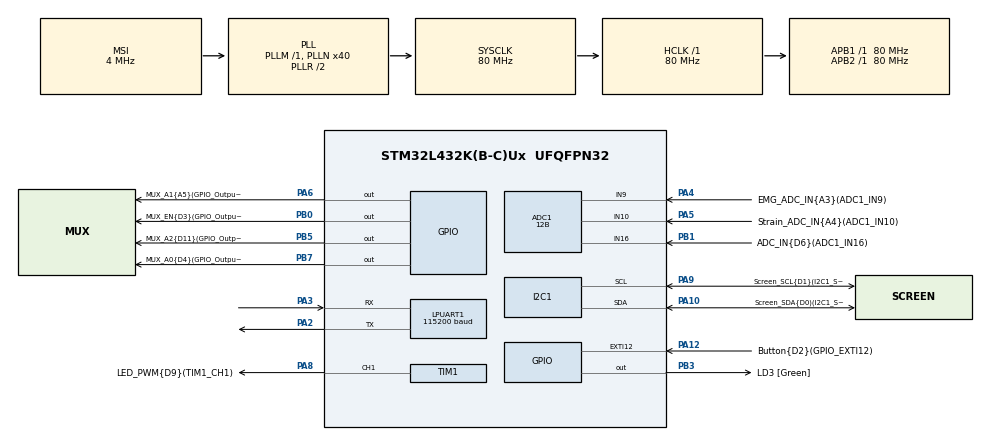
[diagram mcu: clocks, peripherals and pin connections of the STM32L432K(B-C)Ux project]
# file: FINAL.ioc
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ADC1.Channel-4\#ChannelRegularConversion=ADC_CHANNEL_9
ADC1.Channel-5\#ChannelRegularConversion=ADC_CHANNEL_10
ADC1.Channel-6\#ChannelRegularConversion=ADC_CHANNEL_16
ADC1.ContinuousConvMode=ENABLE
ADC1.NbrOfConversion=3
ADC1.NbrOfConversionFlag=1
ADC1.OffsetNumber-4\#ChannelRegularConversion=ADC_OFFSET_NONE
ADC1.OffsetNumber-5\#ChannelRegularConversion=ADC_OFFSET_NONE
ADC1.OffsetNumber-6\#ChannelRegularConversion=ADC_OFFSET_NONE
ADC1.OversamplingMode=DISABLE
ADC1.Rank-4\#ChannelRegularConversion=1
ADC1.Rank-5\#ChannelRegularConversion=2
ADC1.Rank-6\#ChannelRegularConversion=3
ADC1.Resolution=ADC_RESOLUTION_12B
ADC1.SamplingTime-4\#ChannelRegularConversion=ADC_SAMPLETIME_2CYCLES_5
ADC1.SamplingTime-5\#ChannelRegularConversion=ADC_SAMPLETIME_24CYCLES_5
ADC1.SamplingTime-6\#ChannelRegularConversion=ADC_SAMPLETIME_2CYCLES_5
ADC1.master=1
Dma.Request0=TIM1_CH1
Dma.TIM1_CH1.0.Direction=DMA_MEMORY_TO_PERIPH
Dma.TIM1_CH1.0.Instance=DMA1_Channel2
Dma.TIM1_CH1.0.MemDataAlignment=DMA_MDATAALIGN_HALFWORD
Dma.TIM1_CH1.0.MemInc=DMA_MINC_ENABLE
Dma.TIM1_CH1.0.Mode=DMA_NORMAL
Dma.TIM1_CH1.0.PeriphDataAlignment=DMA_PDATAALIGN_HALFWORD
Dma.TIM1_CH1.0.PeriphInc=DMA_PINC_DISABLE
Dma.TIM1_CH1.0.Priority=DMA_PRIORITY_LOW
I2C1.Timing=0x10909CEC
LPUART1.BaudRate=115200
LPUART1.WordLength=UART_WORDLENGTH_8B
Mcu.Family=STM32L4
Mcu.Name=STM32L432K(B-C)Ux
Mcu.Package=UFQFPN32
NVIC.DMA1_Channel2_IRQn=true\:0\:0\:true\:false\:true\:false\:true\:false
NVIC.EXTI15_10_IRQn=true\:2\:0\:true\:false\:true\:true\:true\:true
NVIC.PriorityGroup=NVIC_PRIORITYGROUP_4
NVIC.TIM2_IRQn=true\:2\:0\:true\:false\:true\:true\:true\:true
PA0.GPIO_Label=MCO [High speed clock in]
PA0.Mode=HSE-External-Clock-Source-for-LittleOrca
PA0.Signal=RCC_CK_IN
PA10.GPIO_Label=Screen_SDA{D0)(I2C1_SDA)
PA10.Mode=I2C
PA10.Signal=I2C1_SDA
PA12.GPIO_Label=Button{D2}(GPIO_EXTI12)
PA12.GPIO_ModeDefaultEXTI=GPIO_MODE_IT_RISING
PA12.Signal=GPXTI12
PA13\ (JTMS-SWDIO).GPIO_Label=SWDIO
PA13\ (JTMS-SWDIO).Mode=Serial_Wire
PA13\ (JTMS-SWDIO).Signal=SYS_JTMS-SWDIO
PA14\ (JTCK-SWCLK).GPIO_Label=SWCLK
PA14\ (JTCK-SWCLK).Mode=Serial_Wire
PA14\ (JTCK-SWCLK).Signal=SYS_JTCK-SWCLK
PA15\ (JTDI).GPIO_Label=VCP_RX
PA15\ (JTDI).Signal=USART2_RX
PA2.Mode=Asynchronous
PA2.Signal=LPUART1_TX
PA3.Mode=Asynchronous
PA3.Signal=LPUART1_RX
PA4.GPIO_Label=EMG_ADC_IN{A3}(ADC1_IN9)
PA4.Signal=ADCx_IN9
PA5.GPIO_Label=Strain_ADC_IN{A4}(ADC1_IN10)
PA5.Signal=ADCx_IN10
PA6.GPIO_Label=MUX_A1{A5}(GPIO_Output)
PA6.PinState=GPIO_PIN_SET
PA6.Signal=GPIO_Output
PA8.GPIO_Label=LED_PWM{D9}(TIM1_CH1)
PA8.Signal=S_TIM1_CH1
PA9.GPIO_Label=Screen_SCL{D1}(I2C1_SCL)
PA9.Mode=I2C
PA9.Signal=I2C1_SCL
PB0.GPIO_Label=MUX_EN{D3}(GPIO_Output)
PB0.PinState=GPIO_PIN_SET
PB0.Signal=GPIO_Output
PB1.GPIO_Label=ADC_IN{D6}(ADC1_IN16)
PB1.Signal=ADCx_IN16
PB3\ (JTDO-TRACESWO).GPIO_Label=LD3 [Green]
PB3\ (JTDO-TRACESWO).PinState=GPIO_PIN_SET
PB3\ (JTDO-TRACESWO).Signal=GPIO_Output
PB5.GPIO_Label=MUX_A2{D11}(GPIO_Output)
PB5.PinState=GPIO_PIN_SET
PB5.Signal=GPIO_Output
PB7.GPIO_Label=MUX_A0{D4}(GPIO_Output)
PB7.PinState=GPIO_PIN_SET
PB7.Signal=GPIO_Output
PC14-OSC32_IN\ (PC14).Signal=RCC_OSC32_IN
PC15-OSC32_OUT\ (PC15).Signal=RCC_OSC32_OUT
ProjectManager.HeapSize=0x200
ProjectManager.StackSize=0x400
ProjectManager.TargetToolchain=STM32CubeIDE
RCC.ADCFreq_Value=80000000
RCC.AHBFreq_Value=80000000
RCC.APB1Freq_Value=80000000
RCC.APB1TimFreq_Value=80000000
RCC.APB2Freq_Value=80000000
RCC.APB2TimFreq_Value=80000000
RCC.CortexFreq_Value=80000000
RCC.HCLKFreq_Value=80000000
RCC.HSE_VALUE=8000000
RCC.HSI16_VALUE=16000000
RCC.HSI48_VALUE=48000000
RCC.HSI_VALUE=16000000
RCC.LSE_VALUE=32768
RCC.MSI_VALUE=4000000
RCC.PLLMUL=RCC_PLLMUL_4
RCC.PLLN=40
RCC.PLLSAI1N=40
RCC.SYSCLKFreq_VALUE=80000000
RCC.SYSCLKSource=RCC_SYSCLKSOURCE_PLLCLK
RCC.USBFreq_Value=80000000
RCC.VCOOutputFreq_Value=160000000
SH.ADCx_IN10.0=ADC1_IN10,IN10-Single-Ended
SH.ADCx_IN16.0=ADC1_IN16,IN16-Single-Ended
SH.ADCx_IN9.0=ADC1_IN9,IN9-Single-Ended
SH.S_TIM1_CH1.0=TIM1_CH1,PWM Generation1 CH1
TIM1.Channel-PWM\ Generation1\ CH1=TIM_CHANNEL_1
TIM1.Period=100-1
TIM2.Period=4000000
VP_TIM1_VS_ClockSourceINT.Mode=Internal
VP_TIM2_VS_ClockSourceINT.Mode=Internal
board=NUCLEO-L432KC

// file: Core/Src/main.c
/* USER CODE BEGIN Header */
/**
  ******************************************************************************
  * @file           : main.c
  * @brief          : Main program body
  ******************************************************************************
  * @attention
  *
  * Copyright (c) 2023 STMicroelectronics.
  * All rights reserved.
  *
  * This software is licensed under terms that can be found in the LICENSE file
  * in the root directory of this software component.
  * If no LICENSE file comes with this software, it is provided AS-IS.
  *
  ******************************************************************************
  */
/* USER CODE END Header */
#include "main.h"

/* USER CODE BEGIN Includes */

#include "stdio.h"				//For printf() debugging
#include "oled_screen.h"		//Obviously for the oled WE DID NOT WRITE THIS
/* USER CODE END Includes */

/* USER CODE BEGIN PTD */

//For the moving average filter
#define WINDOW_SIZE			8						//Moving average filter window size

//FOR THE ADC
#define EMG_COUNT			5						//Number of EMGs
#define STRAIN_COUNT		2						//Number of strain sensors
#define SENSOR_COUNT 		EMG_COUNT+STRAIN_COUNT 	//EMG + Strain
#define ADC_BUFFER_LENGTH	WINDOW_SIZE+3 			// 8 Window time Slots the MAX, SUM, and AVG
#define ADC_DATA_LENGTH		WINDOW_SIZE				//Width of the moving average filter that stores the data in ADC_Val
#define MAX_INDEX			WINDOW_SIZE+2			//The location the max in the tail end of the of ADC_Val
#define SUM_INDEX			WINDOW_SIZE+1			//The location the running sum in the tail end of the of ADC_Val
#define AVG_INDEX			WINDOW_SIZE				//The location the moving avg in the tail end of the of ADC_Val
#define ADC_TIMEOUT			1000 					//Millisecond timeout value for an ADC conversion

//FOR THE LEDS
#define BITS_PER			24						//3 colors of 8 bits each
#define RES_FRAME			250 					// 800kHz > T= 1.25 us, TODO: datasheet lists both  300 and also 250 us for frame reset length meaning 200 slots of PWM
#define MAX_LED 			50+10 					//(Set this to ten over because the final LED glitches for some reason)
#define BRIGHTNESS 			0.25					//Percentage of full brightness 25% gets up just to .200 A
#define BAR_SIZE 			10 						//Number of LEDs that form a bar graph at a muscle site

//FOR THE ACTIVITY LOG
#define DEPTH				32 					//Number of samples that show binary representation of activity changes
#define ACTIVITY_THRESHOLD	0.62					//Percentage of max EMG value (TODO: POWER of 2 will be faster)that is considered "Active" for the sake of recording activity
													//TODO: EXTREEMLY FINICKY: Reduced to 0.62 because a push-up is just not that hard for our purposes
/* USER CODE END PTD */

ADC_HandleTypeDef hadc1;

I2C_HandleTypeDef hi2c1;

UART_HandleTypeDef hlpuart1;

TIM_HandleTypeDef htim1;
TIM_HandleTypeDef htim2;
DMA_HandleTypeDef hdma_tim1_ch1;

/* USER CODE BEGIN PV */
//FOR THE MOVING AVERAGE FILTER
uint8_t window_timeslot = 0;									//Current position within the moving average filter
uint8_t channel = 0;											//Current EMG in terms of MUX address

//FOR THE ADC

volatile uint32_t 	ADC_Val[EMG_COUNT][ADC_BUFFER_LENGTH];		//Stores raw ADC data for every channel, the length is 8 for the moving average

//FOR THE LEDS
uint8_t bar_scalers[EMG_COUNT] = {1,1,1,1,1};					//Balances out the LED ouputs so they all look good on demo day (digital gain adjustments)
uint8_t LEDs[MAX_LED][3]; 										//LED Data that is changed reflecting true colors
uint8_t COLOR_HEATMAP[11][3]= {	{0,0,0}, 						//Heat map from green to yellow to dark red to indicate pump keep B off to reduce power
								{0, 255, 0},
								{51, 204, 0},
								{77, 178, 0},
								{102, 153, 0},
								{127,127,0},
								{153, 102, 0},
								{178, 77, 0},
								{204, 51, 0},
								{255, 0, 0},
								{255, 255, 255}}; 				//Setup as RGB
volatile uint8_t   PUMP[EMG_COUNT]; 							//Defines the current pump level 1-9, zero 0s nothing, 10 is all white
uint16_t PWM[(BITS_PER*MAX_LED)+(RES_FRAME)]; 					//PWM data that gets updated by the send function and sent via DMA there are 24 bits per individual LED plus 2 tail end bits for resetting between transmissions
volatile int DMA_Done = 0; 										//Flag to indicate a DMA transfer is ongoing

//FOR BUTTON
uint8_t clicked = 1;											//Single state keeper to prevent a second button event from firing while dealing with one

//FOR ACTIVITY MONITOR

uint8_t new_activity[EMG_COUNT]; 			//The activity fingerprint for one cycle through all the sensors, equivalently one timeslot
uint8_t activity_log[EMG_COUNT][DEPTH]; 	//Array that updates columns whenever the pattern of muscle activation changes, depth is the column count, essentially the memory for changes
uint8_t activity_index = 0;					//Location of the last updated activity column [0, DEPTH]
uint8_t push_ups = 0;						//The number of push-ups
uint32_t muscle_sums[EMG_COUNT];			//The activation counts for each muscle site
uint32_t rep_activations = 128;				//This is the number of activation peaks that translate to a single rep

//FOR FLEX SENSOR
uint16_t strain_start = 3480;
uint16_t strain_base = 3480;				//This is what the strain starts out as about 85% of the 5V max
float strain_ratio = 1;						//This minute chain in the shirt tension affects how quickly the muscles turn red by using this ratio

//For Screen
char itoa_buffer[3];
/* USER CODE END PV */

void SystemClock_Config(void);
static void MX_GPIO_Init(void);
static void MX_DMA_Init(void);
static void MX_TIM1_Init(void);
static void MX_LPUART1_UART_Init(void);
static void MX_ADC1_Init(void);
static void MX_I2C1_Init(void);
static void MX_TIM2_Init(void);

/* USER CODE BEGIN 0 */
//FOR THE ADC
//Used to read EMG data coming off the mux
void ADC_Select_EMG_MUX(void){
	ADC_ChannelConfTypeDef sConfig = {0};
	sConfig.Channel = ADC_CHANNEL_9;
	sConfig.Rank = ADC_REGULAR_RANK_1;
	sConfig.SamplingTime = ADC_SAMPLETIME_2CYCLES_5;
	sConfig.SingleDiff = ADC_SINGLE_ENDED;
	sConfig.OffsetNumber = ADC_OFFSET_NONE;
	sConfig.Offset = 0;
	if (HAL_ADC_ConfigChannel(&hadc1, &sConfig) != HAL_OK){
	  Error_Handler();
	}

}
//Adjust to another ADC channel to read strain gauges
void ADC_Select_Strain_1(void){
	ADC_ChannelConfTypeDef sConfig = {0};
	sConfig.Channel = ADC_CHANNEL_10;
	sConfig.Rank = ADC_REGULAR_RANK_1;
	sConfig.SamplingTime = ADC_SAMPLETIME_247CYCLES_5;
	if (HAL_ADC_ConfigChannel(&hadc1, &sConfig) != HAL_OK){
		Error_Handler();
	}
}

//FOR THE LEDS
//Sets a specific LED to a specific color scaled by brightness
void set_led(uint8_t LEDnum, uint8_t RGB[3]){
	//Note the ordering of the matrix is GRB, not RGB, this is deliberate for the LED strips protocol
	LEDs[LEDnum][0] = RGB[1]*BRIGHTNESS;
	LEDs[LEDnum][1] = RGB[0]*BRIGHTNESS;
	LEDs[LEDnum][2] = RGB[2]*BRIGHTNESS;
}
//Input some level from the ADC and then you get a resulting led bar graph
void set_bar_level(uint8_t channel, float level) {
	//First scale down the raw ADC EMG value to be Some number capped at 10
	//TODO: Initialize all the ADC_Val[channel][MAX_INDEX] values to 1 will prevent a divide by 0 crash, for now I just add a one but initialization will avoid stupid addition EVERY TIME
	uint16_t scaled = ((level*bar_scalers[channel])/(((ADC_Val[channel][MAX_INDEX]))))*10;

	for(int i = BAR_SIZE*channel; i < BAR_SIZE*(channel+1); ++i){
		if((i%10) < (10-scaled)) {
			set_led(i, COLOR_HEATMAP[0]);
		}else {
			set_led(i, COLOR_HEATMAP[PUMP[channel]]);
		}
	}
}

//Sends an update to DMA PWM matrix controlling LEDs
void send_DMA(void){
	uint32_t buffer_index=0;
	uint32_t GRB;
	//Loop though every LED and Update the values per bit so PWM gets set to corrrdct value
	for (int i= 0; i<MAX_LED; i++) {
		GRB = ((LEDs[i][0]<<16) | (LEDs[i][1]<<8) | (LEDs[i][2]));
		for (int i=23; i>=0; --i){
			//Recall 80M Hz clock / 100 period counter = 800k Hz desired data rate
			if (GRB&(1<<i)){
				PWM[buffer_index++] = 70;  // 7/10 of 100 TODO: These were set off of 70 and 30 to reduce flickering
			} else {
				PWM[buffer_index++] = 30;  // 3/10  of 100
			}
		}
	}
	//There is some reset time required between sends supposed to be  either 250 us or 300 datasheet is unclear
	//Also seems to work without any...
	for (int i=0; i<250; i++) {
		PWM[buffer_index++] = 0;
	}
	//Start DMA and wait till its done setting flags accordingly
	HAL_TIM_PWM_Start_DMA(&htim1, TIM_CHANNEL_1, (uint32_t *)PWM, buffer_index);
	while (!DMA_Done){};
	DMA_Done = 0;
}
//Callback to make sure DMA transfers do not step on each other sending LED data pulses
void HAL_TIM_PWM_PulseFinishedCallback(TIM_HandleTypeDef *htim){
	HAL_TIM_PWM_Stop_DMA(&htim1, TIM_CHANNEL_1);
	DMA_Done=1;

}

//Updates the EMG value for a given channel and given timeslot
void update_EMG_value(uint32_t channel, uint32_t window_timeslot){
	//Spin up the ADC channel for the EMGs
	ADC_Select_EMG_MUX();
	HAL_ADC_Start(&hadc1);
	HAL_ADC_PollForConversion(&hadc1, (uint32_t)ADC_TIMEOUT);
	//Save the old value in this timeslot
	uint32_t prior = ADC_Val[channel][window_timeslot];
	//Replace the old value with the new
	ADC_Val[channel][window_timeslot] = HAL_ADC_GetValue(&hadc1);
	//Stop the ADC
	HAL_ADC_Stop(&hadc1);
	//Recompute the running sum adding the new and subtracting the leaving old value as it passes out of the window
	ADC_Val[channel][SUM_INDEX]  = ADC_Val[channel][SUM_INDEX]  + ADC_Val[channel][window_timeslot] - prior;
	//Recompute the average from the updated sum
	ADC_Val[channel][AVG_INDEX] = ADC_Val[channel][SUM_INDEX]  /ADC_DATA_LENGTH;
	if(ADC_Val[channel][MAX_INDEX]  < ADC_Val[channel][window_timeslot]){
		ADC_Val[channel][MAX_INDEX]  = ADC_Val[channel][window_timeslot];
	}
	//Compare whatever value we just recorded to some percentage of the max. If we are over that threshold mark a 1 in the activity vector

	new_activity[channel] = (ADC_Val[channel][window_timeslot] > (ACTIVITY_THRESHOLD*ADC_Val[channel][MAX_INDEX]));
}

//Print the output of the moving average filter to console, easy to see via Arduino serial plotter
void DEBUG_print_EMG(uint8_t channel){
	//Debug print to output only
	printf("\n%u", ADC_Val[channel][AVG_INDEX] );
}

void update_strain(){
	ADC_Select_Strain_1();
	HAL_ADC_Start(&hadc1);
	HAL_ADC_PollForConversion(&hadc1, (uint32_t)ADC_TIMEOUT);
	uint16_t strain_new = HAL_ADC_GetValue(&hadc1);
	printf("\n%u", strain_new);
	HAL_ADC_Stop(&hadc1);
	if(strain_new > strain_base){
		strain_base = strain_new;
	}

}

//Neatly prints the activity matrix for debugging via Arduino serial output
void DEBUG_print_AM(void){
	//Debug print to output only
	printf("\n");
	for(uint8_t i =0; i<EMG_COUNT; ++i){
		printf("%u\t", activity_log[i][activity_index]);
	}
}

/*After cycling through all the sensors we will have some binary vector showing what muscles were on during a timeslot
 * this vector named: "new_activity" is then compared against the most recent entry in the
 */

void set_pump(float burn, uint8_t channel){
	float reps = (burn+1)/(rep_activations*strain_ratio);
	PUMP[channel] = (uint8_t)(reps) + 1;
	if(PUMP[channel] >9){
		PUMP[channel] = 9;
	}
	switch (channel) {
		case 0:
			itoa(PUMP[channel], itoa_buffer,10);
			oled_writeLat(itoa_buffer);
			break;
		case 1:
			itoa(PUMP[channel], itoa_buffer,10);
			oled_writeChest(itoa_buffer);
			break;
		case 2:
			//Shoulder doesnt fit alledgely
			break;
		case 3:
			itoa(PUMP[channel], itoa_buffer,10);
			oled_writeTricep(itoa_buffer);
			break;
		case 4:
			itoa(PUMP[channel], itoa_buffer,10);
			oled_writeBicep(itoa_buffer);
			break;
	}
}
void update_activity(void){
	//Cycle through every member of the array
	uint8_t different = 0;
	uint8_t inactive = 0;
	for(uint8_t i = 0; i<EMG_COUNT; ++i){
		//If the activity in the new column is different from the latest entry then add it
		inactive += new_activity[i];
		if(new_activity[i] != activity_log[i][activity_index]){
			//set the flag
			different = 1;
			//Break out of the loop for even a single difference, break early for optimal speed
			break;
		}
	}
	if(different) {
		//Write to some slot on the log by incrementing with wraparound
		activity_index = (activity_index+1)%DEPTH;
		//Copy this changed column into the log
		uint32_t total_pump = 0;
		for(uint8_t j = 0; j < EMG_COUNT; ++j){
			total_pump += PUMP[j];
			activity_log[j][activity_index] = new_activity[j];
			muscle_sums[j]+= new_activity[j];
		}
		itoa((total_pump/EMG_COUNT), itoa_buffer,10);
		oled_writePumpLevel(itoa_buffer);
		//DEBUG_print_AM();
		//printf("\n%u", muscle_sums[4]);

	}
	//If no muscle is currently active
	if(!inactive){
		//Determine the strain stuff
		update_strain();
		//Ratio represents how much the shirt is stretched, tighter shirt means pump is higher, go red easier
		strain_ratio = (float)(strain_base) / (float)(strain_start);
	}
	//If we made it to the end of the log, count the number of pushups so far
	if(activity_index == DEPTH){
		activity_index =0;
		for(uint8_t k = 1; k < DEPTH; ++k){
			//If chest and tri both activate then both go low
			if(activity_log[1][k-1] && activity_log[3][k-1] && !(activity_log[1][k]) && !(activity_log[3][k])){
				++push_ups;
				//Don't want to reuse the data from the top half so increment k another time
				++k;
				itoa(push_ups, itoa_buffer,10);
				oled_writePushUp(itoa_buffer);
			}
		}
	}

}

//SHIT FOR THE MUX
//Changes the mux to some other channel to read a different EMG site
void rotate_channel(uint8_t channel) {
	//TODO: Just do a lookup table for all the 8 or so sensor value and avoid the bit shifting and anding for speed
	((channel & 0b1) == 0b1)		?	HAL_GPIO_WritePin(GPIOB, GPIO_PIN_7, GPIO_PIN_SET): HAL_GPIO_WritePin(GPIOB, GPIO_PIN_7, GPIO_PIN_RESET);
	(((channel>>1) & 0b1) == 0b1)	? 	HAL_GPIO_WritePin(GPIOA, GPIO_PIN_6, GPIO_PIN_SET): HAL_GPIO_WritePin(GPIOA, GPIO_PIN_6, GPIO_PIN_RESET);
	(((channel>>2) & 0b1) == 0b1)	? 	HAL_GPIO_WritePin(GPIOB, GPIO_PIN_5, GPIO_PIN_SET): HAL_GPIO_WritePin(GPIOB, GPIO_PIN_5, GPIO_PIN_RESET);
}

void restart(void){
	strain_start = 3480;
	strain_base = 3480;
	strain_ratio = 1;
	for(unsigned int i = 0; i < EMG_COUNT; ++i){
		muscle_sums[i]=0;
		PUMP[i]=1;
		for(unsigned int j = 0; j < WINDOW_SIZE+2; ++j){
			ADC_Val[i][j] = 0;
		}
	}
}

void init_maxes(void){
	for(unsigned int i = 0 ; i < EMG_COUNT; ++i){
		//Maxes avoid divide by zero error
		ADC_Val[i][MAX_INDEX] = 4096;
		//Pump must start at 1 because 0 is off
		PUMP[i] = 1;
	}
}

//ISR fires when button is pressed and starts a timer that counts up to 50 ms for debouncing TODO: Crucial that both the button interrupts have lower (meaning higher) priorty compared to the DMA
//The DMA cannot be blocked mid stream or gets caught in a deadlock
void HAL_GPIO_EXTI_Callback(uint16_t GPIO_Pin){
	if((GPIO_Pin == GPIO_PIN_12) && (clicked > 0)){
		HAL_TIM_Base_Start_IT(&htim2);
		clicked = 0;
		DMA_Done = 1;
	}
}

//Timer for de-bouncing the restart button
void HAL_TIM_PeriodElapsedCallback(TIM_HandleTypeDef *htim){
  if(HAL_GPIO_ReadPin(GPIOA, GPIO_PIN_12) == GPIO_PIN_RESET){
	  //Send all white
	  restart();
	  for(unsigned int i = 0; i < 4; ++i) {
		  if(i%2 == 0) {
			  for(unsigned int j = 0; j < MAX_LED; ++j){
				  set_led(j, COLOR_HEATMAP[10]);
			  }
		  } else {
			  for(unsigned int k = 0; k < MAX_LED; ++k){
				  set_led(k, COLOR_HEATMAP[0]);
			  }
		  }
		  send_DMA();
		  HAL_Delay(250);
	  }
  }
  DMA_Done = 1;
  clicked = 1;
  HAL_TIM_Base_Stop_IT(&htim2);
}

/* USER CODE END 0 */

int main(void)
{

  /* MCU Configuration--------------------------------------------------------*/

  /* Reset of all peripherals, Initializes the Flash interface and the Systick. */
  HAL_Init();

  /* USER CODE BEGIN Init */
  // OLED test

  /* USER CODE END Init */

  /* Configure the system clock */
  SystemClock_Config();

  /* Initialize all configured peripherals */
  MX_GPIO_Init();
  MX_DMA_Init();
  MX_TIM1_Init();
  MX_LPUART1_UART_Init();
  MX_ADC1_Init();
  MX_I2C1_Init();
  MX_TIM2_Init();
  /* USER CODE BEGIN 2 */

  //Set the EN to on for the MUX
  HAL_GPIO_WritePin(GPIOB, GPIO_PIN_0, GPIO_PIN_SET);
  oled_init();
  init_maxes();
  window_timeslot = 0;

  /* USER CODE END 2 */

  /* Infinite loop */
  while (1)
  {

    /* USER CODE BEGIN 3 */
	  for(unsigned int i =  0; i < 5 ; ++i) {
		  rotate_channel(i);
		  update_EMG_value(i, window_timeslot);
		  set_bar_level(i, ADC_Val[i][AVG_INDEX]);
	  }
	  update_activity();
	  //DEBUG_print_EMG(0);

	  window_timeslot = (window_timeslot + 1) % WINDOW_SIZE;
	  if(window_timeslot == 0){
		  send_DMA();
	  }

  }
  /* USER CODE END 3 */
}

void SystemClock_Config(void)
{
  RCC_OscInitTypeDef RCC_OscInitStruct = {0};
  RCC_ClkInitTypeDef RCC_ClkInitStruct = {0};

  /** Configure the main internal regulator output voltage
  */
  if (HAL_PWREx_ControlVoltageScaling(PWR_REGULATOR_VOLTAGE_SCALE1) != HAL_OK)
  {
    Error_Handler();
  }

  /** Initializes the RCC Oscillators according to the specified parameters
  * in the RCC_OscInitTypeDef structure.
  */
  RCC_OscInitStruct.OscillatorType = RCC_OSCILLATORTYPE_MSI;
  RCC_OscInitStruct.MSIState = RCC_MSI_ON;
  RCC_OscInitStruct.MSICalibrationValue = 0;
  RCC_OscInitStruct.MSIClockRange = RCC_MSIRANGE_6;
  RCC_OscInitStruct.PLL.PLLState = RCC_PLL_ON;
  RCC_OscInitStruct.PLL.PLLSource = RCC_PLLSOURCE_MSI;
  RCC_OscInitStruct.PLL.PLLM = 1;
  RCC_OscInitStruct.PLL.PLLN = 40;
  RCC_OscInitStruct.PLL.PLLP = RCC_PLLP_DIV7;
  RCC_OscInitStruct.PLL.PLLQ = RCC_PLLQ_DIV2;
  RCC_OscInitStruct.PLL.PLLR = RCC_PLLR_DIV2;
  if (HAL_RCC_OscConfig(&RCC_OscInitStruct) != HAL_OK)
  {
    Error_Handler();
  }

  /** Initializes the CPU, AHB and APB buses clocks
  */
  RCC_ClkInitStruct.ClockType = RCC_CLOCKTYPE_HCLK|RCC_CLOCKTYPE_SYSCLK
                              |RCC_CLOCKTYPE_PCLK1|RCC_CLOCKTYPE_PCLK2;
  RCC_ClkInitStruct.SYSCLKSource = RCC_SYSCLKSOURCE_PLLCLK;
  RCC_ClkInitStruct.AHBCLKDivider = RCC_SYSCLK_DIV1;
  RCC_ClkInitStruct.APB1CLKDivider = RCC_HCLK_DIV1;
  RCC_ClkInitStruct.APB2CLKDivider = RCC_HCLK_DIV1;

  if (HAL_RCC_ClockConfig(&RCC_ClkInitStruct, FLASH_LATENCY_4) != HAL_OK)
  {
    Error_Handler();
  }
}

static void MX_ADC1_Init(void)
{

  ADC_ChannelConfTypeDef sConfig = {0};

  /** Common config
  */
  hadc1.Instance = ADC1;
  hadc1.Init.ClockPrescaler = ADC_CLOCK_ASYNC_DIV1;
  hadc1.Init.Resolution = ADC_RESOLUTION_12B;
  hadc1.Init.DataAlign = ADC_DATAALIGN_RIGHT;
  hadc1.Init.ScanConvMode = ADC_SCAN_ENABLE;
  hadc1.Init.EOCSelection = ADC_EOC_SINGLE_CONV;
  hadc1.Init.LowPowerAutoWait = DISABLE;
  hadc1.Init.ContinuousConvMode = ENABLE;
  hadc1.Init.NbrOfConversion = 1;
  hadc1.Init.DiscontinuousConvMode = DISABLE;
  hadc1.Init.ExternalTrigConv = ADC_SOFTWARE_START;
  hadc1.Init.ExternalTrigConvEdge = ADC_EXTERNALTRIGCONVEDGE_NONE;
  hadc1.Init.DMAContinuousRequests = DISABLE;
  hadc1.Init.Overrun = ADC_OVR_DATA_PRESERVED;
  hadc1.Init.OversamplingMode = DISABLE;
  if (HAL_ADC_Init(&hadc1) != HAL_OK)
  {
    Error_Handler();
  }

}

static void MX_I2C1_Init(void)
{

  hi2c1.Instance = I2C1;
  hi2c1.Init.Timing = 0x10909CEC;
  hi2c1.Init.OwnAddress1 = 0;
  hi2c1.Init.AddressingMode = I2C_ADDRESSINGMODE_7BIT;
  hi2c1.Init.DualAddressMode = I2C_DUALADDRESS_DISABLE;
  hi2c1.Init.OwnAddress2 = 0;
  hi2c1.Init.OwnAddress2Masks = I2C_OA2_NOMASK;
  hi2c1.Init.GeneralCallMode = I2C_GENERALCALL_DISABLE;
  hi2c1.Init.NoStretchMode = I2C_NOSTRETCH_DISABLE;
  if (HAL_I2C_Init(&hi2c1) != HAL_OK)
  {
    Error_Handler();
  }

  /** Configure Analogue filter
  */
  if (HAL_I2CEx_ConfigAnalogFilter(&hi2c1, I2C_ANALOGFILTER_ENABLE) != HAL_OK)
  {
    Error_Handler();
  }

  /** Configure Digital filter
  */
  if (HAL_I2CEx_ConfigDigitalFilter(&hi2c1, 0) != HAL_OK)
  {
    Error_Handler();
  }

}

static void MX_LPUART1_UART_Init(void)
{

  hlpuart1.Instance = LPUART1;
  hlpuart1.Init.BaudRate = 115200;
  hlpuart1.Init.WordLength = UART_WORDLENGTH_8B;
  hlpuart1.Init.StopBits = UART_STOPBITS_1;
  hlpuart1.Init.Parity = UART_PARITY_NONE;
  hlpuart1.Init.Mode = UART_MODE_TX_RX;
  hlpuart1.Init.HwFlowCtl = UART_HWCONTROL_NONE;
  hlpuart1.Init.OneBitSampling = UART_ONE_BIT_SAMPLE_DISABLE;
  hlpuart1.AdvancedInit.AdvFeatureInit = UART_ADVFEATURE_NO_INIT;
  if (HAL_UART_Init(&hlpuart1) != HAL_OK)
  {
    Error_Handler();
  }

}

static void MX_TIM1_Init(void)
{

  TIM_ClockConfigTypeDef sClockSourceConfig = {0};
  TIM_MasterConfigTypeDef sMasterConfig = {0};
  TIM_OC_InitTypeDef sConfigOC = {0};
  TIM_BreakDeadTimeConfigTypeDef sBreakDeadTimeConfig = {0};

  htim1.Instance = TIM1;
  htim1.Init.Prescaler = 0;
  htim1.Init.CounterMode = TIM_COUNTERMODE_UP;
  htim1.Init.Period = 100-1;
  htim1.Init.ClockDivision = TIM_CLOCKDIVISION_DIV1;
  htim1.Init.RepetitionCounter = 0;
  htim1.Init.AutoReloadPreload = TIM_AUTORELOAD_PRELOAD_DISABLE;
  if (HAL_TIM_Base_Init(&htim1) != HAL_OK)
  {
    Error_Handler();
  }
  sClockSourceConfig.ClockSource = TIM_CLOCKSOURCE_INTERNAL;
  if (HAL_TIM_ConfigClockSource(&htim1, &sClockSourceConfig) != HAL_OK)
  {
    Error_Handler();
  }
  if (HAL_TIM_PWM_Init(&htim1) != HAL_OK)
  {
    Error_Handler();
  }
  sMasterConfig.MasterOutputTrigger = TIM_TRGO_RESET;
  sMasterConfig.MasterOutputTrigger2 = TIM_TRGO2_RESET;
  sMasterConfig.MasterSlaveMode = TIM_MASTERSLAVEMODE_DISABLE;
  if (HAL_TIMEx_MasterConfigSynchronization(&htim1, &sMasterConfig) != HAL_OK)
  {
    Error_Handler();
  }
  sConfigOC.OCMode = TIM_OCMODE_PWM1;
  sConfigOC.Pulse = 0;
  sConfigOC.OCPolarity = TIM_OCPOLARITY_HIGH;
  sConfigOC.OCNPolarity = TIM_OCNPOLARITY_HIGH;
  sConfigOC.OCFastMode = TIM_OCFAST_DISABLE;
  sConfigOC.OCIdleState = TIM_OCIDLESTATE_RESET;
  sConfigOC.OCNIdleState = TIM_OCNIDLESTATE_RESET;
  if (HAL_TIM_PWM_ConfigChannel(&htim1, &sConfigOC, TIM_CHANNEL_1) != HAL_OK)
  {
    Error_Handler();
  }
  sBreakDeadTimeConfig.OffStateRunMode = TIM_OSSR_DISABLE;
  sBreakDeadTimeConfig.OffStateIDLEMode = TIM_OSSI_DISABLE;
  sBreakDeadTimeConfig.LockLevel = TIM_LOCKLEVEL_OFF;
  sBreakDeadTimeConfig.DeadTime = 0;
  sBreakDeadTimeConfig.BreakState = TIM_BREAK_DISABLE;
  sBreakDeadTimeConfig.BreakPolarity = TIM_BREAKPOLARITY_HIGH;
  sBreakDeadTimeConfig.BreakFilter = 0;
  sBreakDeadTimeConfig.Break2State = TIM_BREAK2_DISABLE;
  sBreakDeadTimeConfig.Break2Polarity = TIM_BREAK2POLARITY_HIGH;
  sBreakDeadTimeConfig.Break2Filter = 0;
  sBreakDeadTimeConfig.AutomaticOutput = TIM_AUTOMATICOUTPUT_DISABLE;
  if (HAL_TIMEx_ConfigBreakDeadTime(&htim1, &sBreakDeadTimeConfig) != HAL_OK)
  {
    Error_Handler();
  }
  HAL_TIM_MspPostInit(&htim1);

}

static void MX_TIM2_Init(void)
{

  TIM_ClockConfigTypeDef sClockSourceConfig = {0};
  TIM_MasterConfigTypeDef sMasterConfig = {0};

  htim2.Instance = TIM2;
  htim2.Init.Prescaler = 0;
  htim2.Init.CounterMode = TIM_COUNTERMODE_UP;
  htim2.Init.Period = 4000000;
  htim2.Init.ClockDivision = TIM_CLOCKDIVISION_DIV1;
  htim2.Init.AutoReloadPreload = TIM_AUTORELOAD_PRELOAD_DISABLE;
  if (HAL_TIM_Base_Init(&htim2) != HAL_OK)
  {
    Error_Handler();
  }
  sClockSourceConfig.ClockSource = TIM_CLOCKSOURCE_INTERNAL;
  if (HAL_TIM_ConfigClockSource(&htim2, &sClockSourceConfig) != HAL_OK)
  {
    Error_Handler();
  }
  sMasterConfig.MasterOutputTrigger = TIM_TRGO_RESET;
  sMasterConfig.MasterSlaveMode = TIM_MASTERSLAVEMODE_DISABLE;
  if (HAL_TIMEx_MasterConfigSynchronization(&htim2, &sMasterConfig) != HAL_OK)
  {
    Error_Handler();
  }

}

static void MX_DMA_Init(void)
{

  /* DMA controller clock enable */
  __HAL_RCC_DMA1_CLK_ENABLE();

  /* DMA interrupt init */
  /* DMA1_Channel2_IRQn interrupt configuration */
  HAL_NVIC_SetPriority(DMA1_Channel2_IRQn, 0, 0);
  HAL_NVIC_EnableIRQ(DMA1_Channel2_IRQn);

}

static void MX_GPIO_Init(void)
{
  GPIO_InitTypeDef GPIO_InitStruct = {0};

  /* GPIO Ports Clock Enable */
  __HAL_RCC_GPIOC_CLK_ENABLE();
  __HAL_RCC_GPIOA_CLK_ENABLE();
  __HAL_RCC_GPIOB_CLK_ENABLE();

  /*Configure GPIO pin Output Level */
  HAL_GPIO_WritePin(MUX_A1_A5__GPIO_Port, MUX_A1_A5__Pin, GPIO_PIN_SET);

  /*Configure GPIO pin Output Level */
  HAL_GPIO_WritePin(GPIOB, MUX_EN_D3__Pin|LD3_Pin|MUX_A2_D11__Pin|MUX_A0_D4__Pin, GPIO_PIN_SET);

  /*Configure GPIO pin : MUX_A1_A5__Pin */
  GPIO_InitStruct.Pin = MUX_A1_A5__Pin;
  GPIO_InitStruct.Mode = GPIO_MODE_OUTPUT_PP;
  GPIO_InitStruct.Pull = GPIO_NOPULL;
  GPIO_InitStruct.Speed = GPIO_SPEED_FREQ_LOW;
  HAL_GPIO_Init(MUX_A1_A5__GPIO_Port, &GPIO_InitStruct);

  /*Configure GPIO pins : MUX_EN_D3__Pin LD3_Pin MUX_A2_D11__Pin MUX_A0_D4__Pin */
  GPIO_InitStruct.Pin = MUX_EN_D3__Pin|LD3_Pin|MUX_A2_D11__Pin|MUX_A0_D4__Pin;
  GPIO_InitStruct.Mode = GPIO_MODE_OUTPUT_PP;
  GPIO_InitStruct.Pull = GPIO_NOPULL;
  GPIO_InitStruct.Speed = GPIO_SPEED_FREQ_LOW;
  HAL_GPIO_Init(GPIOB, &GPIO_InitStruct);

  /*Configure GPIO pin : Button_D2__Pin */
  GPIO_InitStruct.Pin = Button_D2__Pin;
  GPIO_InitStruct.Mode = GPIO_MODE_IT_RISING;
  GPIO_InitStruct.Pull = GPIO_NOPULL;
  HAL_GPIO_Init(Button_D2__GPIO_Port, &GPIO_InitStruct);

  /*Configure GPIO pin : VCP_RX_Pin */
  GPIO_InitStruct.Pin = VCP_RX_Pin;
  GPIO_InitStruct.Mode = GPIO_MODE_AF_PP;
  GPIO_InitStruct.Pull = GPIO_NOPULL;
  GPIO_InitStruct.Speed = GPIO_SPEED_FREQ_VERY_HIGH;
  GPIO_InitStruct.Alternate = GPIO_AF3_USART2;
  HAL_GPIO_Init(VCP_RX_GPIO_Port, &GPIO_InitStruct);

  /* EXTI interrupt init*/
  HAL_NVIC_SetPriority(EXTI15_10_IRQn, 2, 0);
  HAL_NVIC_EnableIRQ(EXTI15_10_IRQn);

}

/* USER CODE BEGIN 4 */
#ifdef __GNUC__
#define PUTCHAR_PROTOTYPE int __io_putchar(int ch)
#else
  #define PUTCHAR_PROTOTYPE int fputc(int ch, FILE *f)
#endif /* __GNUC__ */
PUTCHAR_PROTOTYPE
{
  HAL_UART_Transmit(&hlpuart1, (uint8_t *)&ch, 1, 0xFFFF);
  return ch;
}

/* USER CODE END 4 */

void Error_Handler(void)
{
  __disable_irq();
  while (1)
  {
  }
}
